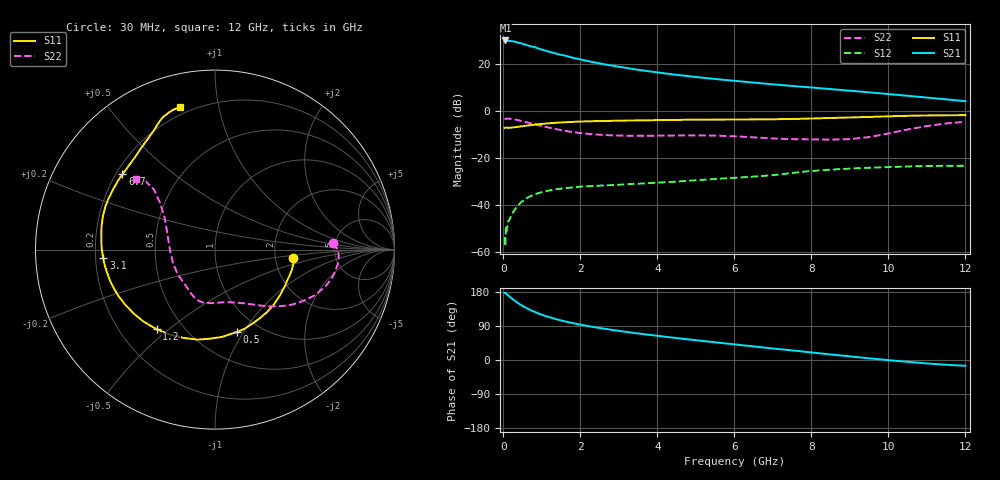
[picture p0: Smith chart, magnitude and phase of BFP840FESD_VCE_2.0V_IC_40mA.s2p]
! Infineon Technologies  Discrete & RF Semiconductors
! BFP840FESD
! VCE =  2.0 V,  IC =  40 mA
! Common Emitter S-Parameters:  May 2012
# GHz  S  MA  R  50
!  f  S11  S21  S12  S22
! GHz  MAG  ANG  MAG  ANG  MAG  ANG  MAG  ANG
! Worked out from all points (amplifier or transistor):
!   103 points, 30 MHz to 12 GHz, reference 50 ohm
!   highest |S21| = 30.2 dB at 50 MHz (marker M1)
!   |S21| within 3 dB of that: start of sweep to 834.3 MHz
!   unconditionally stable (mu >= 1): start of sweep to 285.7 MHz; 2.485 GHz to end of sweep
!   at 400 MHz: K = 0.85, MSG = 34.6 dB, |S12| = -40.0 dB
!   at 3.7 GHz: K = 1.24, MAG = 21.1 dB, |S12| = -30.9 dB
!   at 12 GHz: K = 1.34, MAG = 10.3 dB, |S12| = -23.3 dB
!   S11 on the Smith chart (normalised r, x): 30 MHz: 2.51, -0.28; 500 MHz: 0.79, -0.94; 1.2 GHz: 0.36, -0.45; 3.1 GHz: 0.23, -0.04; 6.7 GHz: 0.23, +0.34; 12 GHz: 0.16, +0.77
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0.03  0.4365 -5.9  31.62 176.8  0.002 61.3  0.6588 3.0
0.04  0.4365 -7.6  31.68 176.2  0.0019 62.7  0.6694 2.0
0.05  0.4432 -9.1  32.23 177.0  0.0013 63.8  0.6755 1.1
0.2  0.4427 -35.2  31.31 163.6  0.0058 63.8  0.6809 -10.4
0.3  0.4531 -50.1  30.28 155.9  0.008 63.5  0.6595 -16.0
0.45  0.4706 -69.4  28.1 145.5  0.0112 59.8  0.6211 -23.1
0.5  0.4749 -75.0  27.29 142.6  0.0119 58.8  0.6054 -25.3
0.7  0.4987 -94.2  24.26 131.8  0.0152 53.2  0.5512 -32.5
0.8  0.5107 -101.0  23.38 127.4  0.0165 51.3  0.5259 -35.7
1  0.5322 -115.4  20.5 119.3  0.0186 47.3  0.4794 -41.1
1.2  0.5497 -126.2  18.4 112.8  0.0202 44.4  0.4401 -45.9
1.5  0.571 -138.9  15.8 104.3  0.022 40.7  0.3917 -52.2
1.8  0.5879 -148.9  13.77 97.3  0.0234 38.3  0.3564 -58.3
2.1  0.6003 -156.9  12.15 91.3  0.0244 37.2  0.3323 -63.8
2.5  0.6118 -165.5  10.43 84.4  0.0255 36.4  0.3121 -70.7
3.1  0.6236 -175.5  8.593 75.5  0.0269 36.8  0.2985 -79.9
4.1  0.6426 170.4  6.53 62.6  0.0299 38.9  0.2984 -93.1
6.1  0.6597 148.0  4.357 40.1  0.038 43.0  0.2861 -115.1
6.7  0.6647 140.9  3.922 33.6  0.0409 44.6  0.2684 -123.3
8.5  0.7117 123.3  2.95 14.6  0.0561 40.8  0.2458 -162.9
10.5  0.792 111.7  2.121 -4.8  0.0657 31.2  0.4045 139.4
12  0.817 104.0  1.625 -15.2  0.068 26.9  0.5908 138.1
